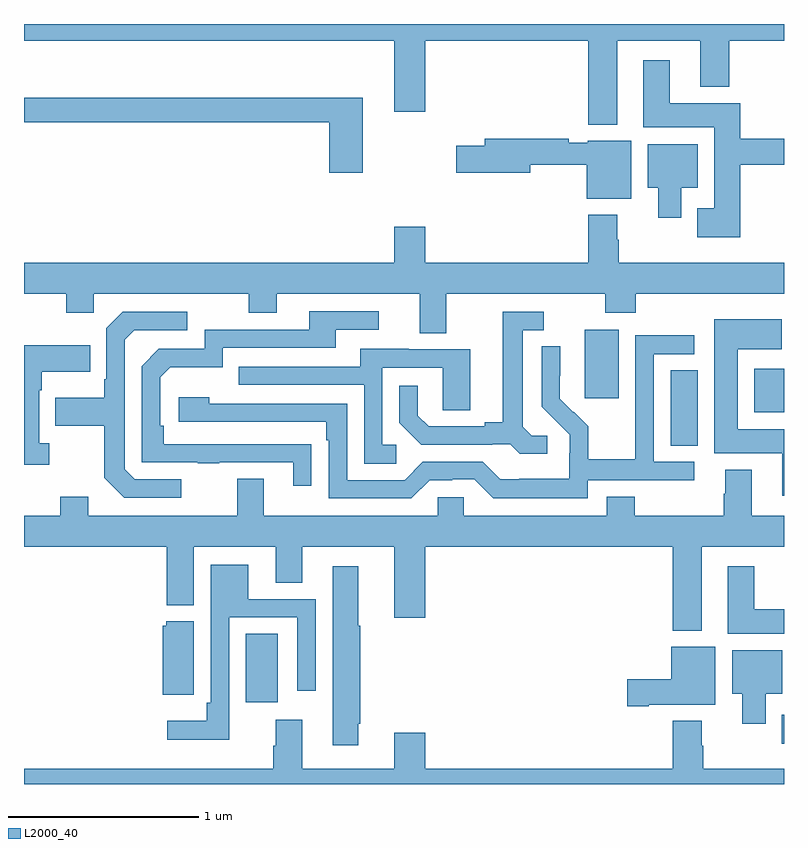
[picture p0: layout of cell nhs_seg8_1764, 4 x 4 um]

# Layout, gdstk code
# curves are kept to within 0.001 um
import gdstk
lib = gdstk.Library(unit=1e-6, precision=1e-09)
def R(c, l, rs):  # rectangles x0, y0, x1, y1
    for r in rs: c.add(gdstk.rectangle(r[:2], r[2:], *l))
def P(c, l, *ps):  # polygons
    for p in ps: c.add(gdstk.Polygon(p, *l))
L2000_40 = (2000, 40)

nhs_seg8_1764 = lib.new_cell('nhs_seg8_1764')
R(nhs_seg8_1764, L2000_40, [(226.988,1134.113,227,1134.265), (224.168,1134.33,224.335,1134.692), (226.403,1135.681,226.546,1136.078), (226.844,1135.856,227,1136.086), (225.95,1135.929,226.129,1136.29)])
P(nhs_seg8_1764, L2000_40, [(223,1137.812),(224.948,1137.812),(224.948,1137.438),(225.112,1137.438),(225.112,1137.812),(225.971,1137.812),(225.971,1137.371),(226.123,1137.371),(226.123,1137.812),(226.559,1137.812),(226.559,1137.569),(226.712,1137.569),(226.712,1137.812),(227,1137.812),(227,1137.9),(223,1137.9)],
  [(226.769,1137.16),(227,1137.16),(227,1137.296),(226.769,1137.296),(226.769,1137.484),(226.399,1137.484),(226.399,1137.709),(226.259,1137.709),(226.259,1137.356),(226.634,1137.356),(226.634,1136.929),(226.544,1136.929),(226.544,1136.777),(226.769,1136.777)],
  [(224.784,1137.511),(223,1137.511),(223,1137.382),(224.606,1137.382),(224.606,1137.117),(224.784,1137.117)],
  [(226.195,1137.286),(225.966,1137.286),(225.966,1137.276),(225.866,1137.276),(225.866,1137.296),(225.425,1137.296),(225.425,1137.26),(225.276,1137.26),(225.276,1137.118),(225.664,1137.118),(225.664,1137.16),(225.962,1137.16),(225.962,1136.981),(226.195,1136.981)],
  [(226.459,1137.038),(226.546,1137.038),(226.546,1137.268),(226.283,1137.268),(226.283,1137.038),(226.337,1137.038),(226.337,1136.88),(226.459,1136.88)],
  [(225.223,1136.48),(226.06,1136.48),(226.06,1136.381),(226.22,1136.381),(226.22,1136.48),(227,1136.48),(227,1136.644),(226.131,1136.644),(226.131,1136.765),(226.123,1136.765),(226.123,1136.896),(225.971,1136.896),(225.971,1136.644),(225.112,1136.644),(225.112,1136.833),(224.948,1136.833),(224.948,1136.644),(223,1136.644),(223,1136.48),(223.222,1136.48),(223.222,1136.381),(223.368,1136.381),(223.368,1136.48),(224.182,1136.48),(224.182,1136.381),(224.329,1136.381),(224.329,1136.48),(225.083,1136.48),(225.083,1136.272),(225.223,1136.272)],
  [(224.513,1135.688),(223.736,1135.689),(223.736,1135.786),(223.716,1135.786),(223.716,1136.04),(223.769,1136.093),(224.046,1136.093),(224.046,1136.196),(224.641,1136.196),(224.641,1136.292),(224.866,1136.292),(224.866,1136.388),(224.501,1136.388),(224.501,1136.292),(223.95,1136.292),(223.95,1136.19),(223.71,1136.19),(223.62,1136.1),(223.62,1135.593),(223.915,1135.593),(223.915,1135.588),(224.027,1135.588),(224.027,1135.593),(224.417,1135.593),(224.417,1135.47),(224.513,1135.47)],
  [(223.828,1135.503),(223.584,1135.503),(223.53,1135.557),(223.53,1136.238),(223.581,1136.289),(223.858,1136.289),(223.858,1136.385),(223.521,1136.385),(223.434,1136.298),(223.434,1136.029),(223.422,1136.029),(223.422,1135.933),(223.165,1135.933),(223.165,1135.786),(223.422,1135.786),(223.422,1135.513),(223.527,1135.407),(223.828,1135.407)],
  [(225.754,1135.734),(225.672,1135.734),(225.625,1135.781),(225.625,1136.289),(225.736,1136.289),(225.736,1136.385),(225.521,1136.385),(225.521,1135.805),(225.425,1135.805),(225.425,1135.782),(225.13,1135.782),(225.073,1135.839),(225.073,1135.996),(224.976,1135.996),(224.976,1135.802),(225.092,1135.686),(225.464,1135.686),(225.464,1135.689),(225.558,1135.689),(225.61,1135.637),(225.754,1135.637)],
  [(227,1135.768),(226.756,1135.768),(226.756,1136.189),(226.987,1136.189),(226.987,1136.347),(226.634,1136.347),(226.634,1135.64),(226.991,1135.64),(226.991,1135.416),(227,1135.416)],
  [(225.966,1135.5),(226.528,1135.5),(226.528,1135.596),(226.314,1135.596),(226.314,1136.163),(226.528,1136.163),(226.528,1136.262),(226.218,1136.262),(226.218,1135.832),(226.216,1135.832),(226.216,1135.609),(225.971,1135.609),(225.971,1135.783),(225.894,1135.86),(225.891,1135.857),(225.821,1135.928),(225.822,1136.204),(225.726,1136.204),(225.726,1135.886),(225.872,1135.738),(225.872,1135.641),(225.87,1135.641),(225.87,1135.507),(225.607,1135.507),(225.607,1135.503),(225.507,1135.503),(225.414,1135.596),(225.099,1135.596),(225.003,1135.5),(224.7,1135.5),(224.7,1135.902),(223.976,1135.902),(223.976,1135.936),(223.815,1135.936),(223.815,1135.806),(224.591,1135.806),(224.591,1135.709),(224.604,1135.709),(224.604,1135.404),(225.039,1135.404),(225.135,1135.5),(225.254,1135.5),(225.254,1135.503),(225.369,1135.503),(225.469,1135.403),(225.966,1135.403)],
  [(223.132,1135.694),(223.08,1135.694),(223.08,1135.973),(223.093,1135.973),(223.093,1136.069),(223.349,1136.069),(223.349,1136.209),(223,1136.209),(223,1135.581),(223.132,1135.581)],
  [(224.959,1135.686),(224.886,1135.686),(224.886,1136.091),(225.204,1136.091),(225.204,1135.867),(225.349,1135.867),(225.349,1136.187),(225.025,1136.187),(225.025,1136.191),(224.771,1136.191),(224.771,1136.097),(224.131,1136.097),(224.131,1136.001),(224.79,1136.001),(224.79,1135.585),(224.959,1135.585)],
  [(226.567,1135.148),(227,1135.148),(227,1135.312),(226.831,1135.312),(226.831,1135.555),(226.691,1135.555),(226.691,1135.428),(226.684,1135.428),(226.684,1135.312),(226.215,1135.312),(226.215,1135.411),(226.067,1135.411),(226.067,1135.312),(225.315,1135.312),(225.315,1135.41),(225.177,1135.41),(225.177,1135.312),(224.263,1135.312),(224.263,1135.507),(224.123,1135.507),(224.123,1135.312),(223.339,1135.312),(223.339,1135.411),(223.192,1135.411),(223.192,1135.312),(223,1135.312),(223,1135.148),(223.751,1135.148),(223.751,1134.842),(223.894,1134.842),(223.894,1135.148),(224.324,1135.148),(224.324,1134.958),(224.464,1134.958),(224.464,1135.148),(224.948,1135.148),(224.948,1134.774),(225.112,1134.774),(225.112,1135.148),(226.415,1135.148),(226.415,1134.707),(226.567,1134.707)],
  [(224.079,1134.777),(224.439,1134.777),(224.439,1134.39),(224.535,1134.39),(224.535,1134.873),(224.179,1134.873),(224.179,1135.054),(223.983,1135.054),(223.983,1134.328),(223.963,1134.328),(223.963,1134.232),(223.755,1134.232),(223.755,1134.134),(224.079,1134.134)],
  [(227,1134.82),(226.843,1134.82),(226.843,1135.045),(226.703,1135.045),(226.703,1134.692),(227,1134.692)],
  [(224.758,1134.217),(224.771,1134.217),(224.771,1134.732),(224.758,1134.732),(224.758,1135.045),(224.624,1135.045),(224.624,1134.105),(224.758,1134.105)],
  [(223.894,1134.757),(223.749,1134.757),(223.749,1134.732),(223.73,1134.732),(223.73,1134.371),(223.894,1134.371)],
  [(226.288,1134.317),(226.639,1134.317),(226.639,1134.622),(226.406,1134.622),(226.406,1134.452),(226.176,1134.452),(226.176,1134.31),(226.288,1134.31)],
  [(226.903,1134.374),(226.99,1134.374),(226.99,1134.604),(226.727,1134.604),(226.727,1134.374),(226.781,1134.374),(226.781,1134.216),(226.903,1134.216)],
  [(227,1133.98),(226.575,1133.98),(226.575,1134.101),(226.567,1134.101),(226.567,1134.232),(226.415,1134.232),(226.415,1133.98),(225.112,1133.98),(225.112,1134.169),(224.948,1134.169),(224.948,1133.98),(224.464,1133.98),(224.464,1134.238),(224.324,1134.238),(224.324,1134.101),(224.312,1134.101),(224.312,1133.98),(223,1133.98),(223,1133.9),(227,1133.9)])

lib.write_gds('nhs_seg8_1764.gds')
